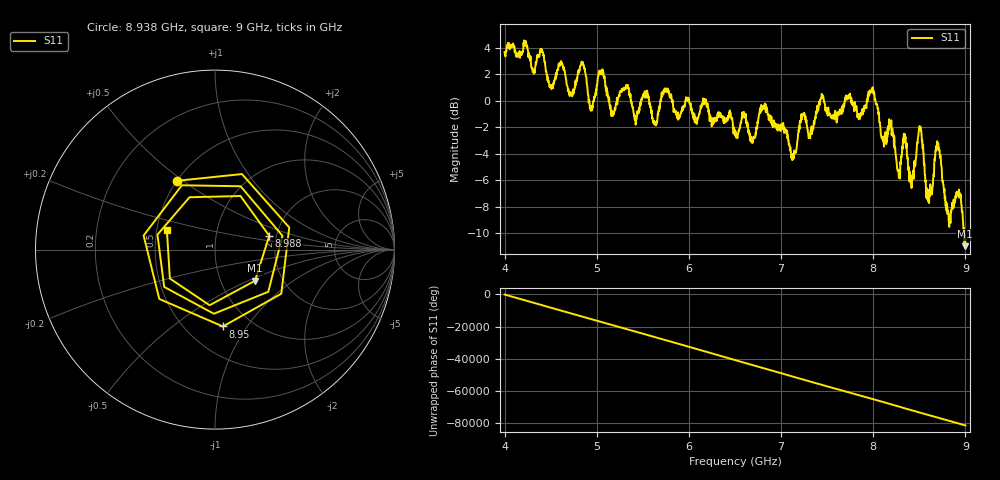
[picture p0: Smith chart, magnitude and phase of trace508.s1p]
! Created with skrf 1.8.0 (http://scikit-rf.org).
# Hz S RI R 50.0
!freq ReS11 ImS11
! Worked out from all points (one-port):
!   1601 points, 4 GHz to 9 GHz, reference 50 ohm
!   lowest |S11| = -11.0 dB at 8.991 GHz (marker M1), VSWR 1.79, Z = 72.6 - j27.4 ohm
!   |S11| at or under -10 dB: 8.987051 GHz to end of sweep
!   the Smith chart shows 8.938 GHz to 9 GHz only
!   S11 on the Smith chart (normalised r, x): 8.938 GHz: 0.50, +0.47; 8.95 GHz: 0.74, -0.78; 8.988 GHz: 1.83, +0.31; 9 GHz: 0.57, +0.14
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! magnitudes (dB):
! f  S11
! 4 GHz  3.7
! 4.506 GHz  0.9
! 4.625 GHz  2.7
! 4.725 GHz  0.5
! 4.847 GHz  2.9
! 4.938 GHz  -0.5
! 5.047 GHz  2.2
! 5.162 GHz  -0.9
! 5.25 GHz  0.7
! 5.875 GHz  -1.2
! 6.5 GHz  -2.6
! 6.822 GHz  -0.4
! 7.125 GHz  -4.3
! 7.231 GHz  -1.0
! 7.75 GHz  0.4
! 7.988 GHz  0.9
! 8.272 GHz  -5.3
! 8.375 GHz  -4.3
! 8.416 GHz  -6.6
! 8.506 GHz  -2.1
! 8.591 GHz  -6.7
! 8.697 GHz  -3.2
! 8.812 GHz  -8.6
! 8.938 GHz  -7.2
! 8.95 GHz  -7.3
! 8.988 GHz  -10.1
! 8.991 GHz  -11.0
! 9 GHz  -10.8
